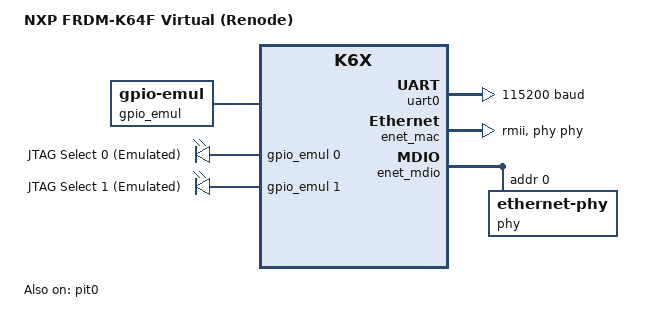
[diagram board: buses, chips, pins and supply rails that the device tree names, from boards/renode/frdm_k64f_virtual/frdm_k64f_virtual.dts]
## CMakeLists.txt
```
# SPDX-License-Identifier: Apache-2.0

cmake_minimum_required(VERSION 3.20.0)

# Add application-specific board root for custom boards (e.g., frdm_k64f_virtual)
list(APPEND BOARD_ROOT ${CMAKE_CURRENT_SOURCE_DIR})

find_package(Zephyr REQUIRED HINTS $ENV{ZEPHYR_BASE})
project(jtag_switch)

target_sources(app PRIVATE
    src/main.c
        src/gpio/gpio_control.c
)

# Conditionally compile shell commands when enabled
target_sources_ifdef(CONFIG_SHELL app PRIVATE
        src/serial/shell_cmds.c
)

# Conditionally compile networking when enabled
target_sources_ifdef(CONFIG_NETWORKING app PRIVATE
        src/net/network_config.c
        src/net/http_api.c
        src/net/http_rest_api.c
        src/net/http_web_ui.c
)

# Generate web resources (both compressed and uncompressed for testing)
set(gen_dir ${ZEPHYR_BINARY_DIR}/include/generated/)

foreach(web_resource index.html style.css app.js)
  # Generate gzipped version
  generate_inc_file_for_target(app
    web/${web_resource}
    ${gen_dir}/${web_resource}.gz.inc
    --gzip
  )
  # Generate uncompressed version for browser compatibility testing
  generate_inc_file_for_target(app
    web/${web_resource}
    ${gen_dir}/${web_resource}.inc
  )
endforeach()

# Add custom linker script for HTTP resources
zephyr_linker_sources(SECTIONS app.ld)
zephyr_linker_section_ifdef(CONFIG_HTTP_SERVER NAME
    http_resource_desc_jtag_switch_service
    KVMA RAM_REGION GROUP RODATA_REGION
)
```

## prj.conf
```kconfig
# SPDX-License-Identifier: Apache-2.0

# GPIO Driver
CONFIG_GPIO=y

# Logging - Minimal for better performance
CONFIG_LOG=y
CONFIG_LOG_DEFAULT_LEVEL=3
CONFIG_LOG_MODE_DEFERRED=y
CONFIG_PRINTK=y

# Application Settings
CONFIG_MAIN_STACK_SIZE=8192
CONFIG_SYSTEM_WORKQUEUE_STACK_SIZE=8192

# USB Serial Shell - New USB Device Stack
CONFIG_SHELL=y
CONFIG_USB_DEVICE_STACK_NEXT=y
CONFIG_USBD_CDC_ACM_CLASS=y
CONFIG_CDC_ACM_SERIAL_INITIALIZE_AT_BOOT=y
CONFIG_SHELL_BACKEND_SERIAL=y
CONFIG_UART_LINE_CTRL=y
CONFIG_CDC_ACM_SERIAL_PRODUCT_STRING="JTAG Switch"
CONFIG_CDC_ACM_SERIAL_MANUFACTURER_STRING="JTAG Switch Project"
CONFIG_CDC_ACM_SERIAL_VID=0x1209
CONFIG_CDC_ACM_SERIAL_PID=0x4520

# Dedicated USB CDC ACM Workqueue (Step 1: Eliminate system workqueue contention)
CONFIG_USBD_CDC_ACM_WORKQUEUE=y
CONFIG_USBD_CDC_ACM_STACK_SIZE=2048

# Shell Configuration
CONFIG_SHELL_PROMPT_UART="jtag:~$ "
CONFIG_SHELL_CMD_BUFF_SIZE=128
CONFIG_SHELL_ARGC_MAX=8
CONFIG_SHELL_TAB=y
CONFIG_SHELL_TAB_AUTOCOMPLETION=y
CONFIG_SHELL_VT100_COLORS=y
CONFIG_SHELL_BACKEND_SERIAL_RX_RING_BUFFER_SIZE=256

# Networking Core
CONFIG_NETWORKING=y
CONFIG_NET_IPV4=y
CONFIG_NET_IPV6=n
CONFIG_NET_TCP=y
CONFIG_NET_SOCKETS=y
CONFIG_NET_CONNECTION_MANAGER=y

# Ethernet
CONFIG_NET_L2_ETHERNET=y

# HTTP Server
CONFIG_HTTP_PARSER=y
CONFIG_HTTP_PARSER_URL=y
CONFIG_HTTP_SERVER=y

# JSON Support
CONFIG_JSON_LIBRARY=y

# Network Buffers - Reduced for better performance
CONFIG_NET_PKT_RX_COUNT=8
CONFIG_NET_PKT_TX_COUNT=8
CONFIG_NET_BUF_RX_COUNT=128
CONFIG_NET_BUF_TX_COUNT=128
CONFIG_NET_MAX_CONTEXTS=6
CONFIG_NET_MAX_CONN=10

# HTTP Server Tuning - Increased for browser compatibility
CONFIG_HTTP_SERVER_MAX_CLIENTS=2
CONFIG_HTTP_SERVER_MAX_STREAMS=8
CONFIG_HTTP_SERVER_CLIENT_BUFFER_SIZE=2048
CONFIG_HTTP_SERVER_MAX_HEADER_LEN=512
CONFIG_HTTP_SERVER_MAX_URL_LENGTH=512

# Poll/FD Limits - Increase for concurrent HTTP connections
CONFIG_ZVFS_POLL_MAX=16

# TCP Connection Management - Fast cleanup for page reloads
CONFIG_NET_TCP_TIME_WAIT_DELAY=1000
# Reduced from 10s to 3s for faster reconnection after browser refresh
CONFIG_HTTP_SERVER_CLIENT_INACTIVITY_TIMEOUT=3

# WebSocket Support for HTTP Server
CONFIG_HTTP_SERVER_WEBSOCKET=y

# Heap memory allocation for WebSocket
CONFIG_HEAP_MEM_POOL_SIZE=8192
# Enable heap runtime statistics tracking
CONFIG_SYS_HEAP_RUNTIME_STATS=y

# Thread Priorities - Network lower priority than shell/USB
CONFIG_NET_RX_DEFAULT_PRIORITY=5
CONFIG_NET_TX_DEFAULT_PRIORITY=5

# Disable network logging to reduce overhead
CONFIG_NET_LOG=n

# Settings (NVS - Non-Volatile Storage)
CONFIG_SETTINGS=y
CONFIG_SETTINGS_RUNTIME=y
CONFIG_NVS=y
CONFIG_NVS_LOG_LEVEL_INF=y
CONFIG_FLASH=y
CONFIG_FLASH_MAP=y
CONFIG_MPU_ALLOW_FLASH_WRITE=y

# Static IP Configuration (default)
CONFIG_NET_CONFIG_SETTINGS=y
CONFIG_NET_CONFIG_NEED_IPV4=y
CONFIG_NET_CONFIG_MY_IPV4_ADDR="192.168.1.100"
CONFIG_NET_CONFIG_MY_IPV4_NETMASK="255.255.255.0"
CONFIG_NET_CONFIG_MY_IPV4_GW="192.168.1.1"

CONFIG_NET_DHCPV4=y
CONFIG_NET_DHCPV4_INITIAL_DELAY_MAX=10
```

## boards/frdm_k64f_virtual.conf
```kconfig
# SPDX-License-Identifier: Apache-2.0
# JTAG Switch configuration for FRDM-K64F Virtual (Renode)

# Disable USB (not simulated in Renode K64F)
CONFIG_USB_DEVICE_STACK_NEXT=n
CONFIG_USBD_CDC_ACM_CLASS=n
CONFIG_CDC_ACM_SERIAL_INITIALIZE_AT_BOOT=n
CONFIG_USBD_CDC_ACM_WORKQUEUE=n

# Use UART console instead
CONFIG_UART_CONSOLE=y

# GPIO emulation (already enabled in board defconfig, but ensure it's set)
CONFIG_GPIO_EMUL=y

# Enable networking for REST API testing in Renode
# Uses isolated internal switch (no host TAP required)
CONFIG_NETWORKING=y
CONFIG_NET_L2_ETHERNET=y
CONFIG_HTTP_SERVER=y
CONFIG_JSON_LIBRARY=y

# Disable DHCP (no external DHCP server in isolated network)
CONFIG_NET_DHCPV4=n

# Enable settings persistence (for network config compatibility)
CONFIG_SETTINGS=y
CONFIG_NVS=y
CONFIG_FLASH=y
```

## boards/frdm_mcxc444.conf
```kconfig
# SPDX-License-Identifier: Apache-2.0
#
# FRDM-MCXC444 Board Configuration
# This board has USB but NO Ethernet - disable networking features

# Disable all networking (no Ethernet on this board)
CONFIG_NETWORKING=n
CONFIG_NET_L2_ETHERNET=n
CONFIG_HTTP_SERVER=n
CONFIG_HTTP_SERVER_WEBSOCKET=n
CONFIG_JSON_LIBRARY=n

# Reduce memory footprint for 32KB SRAM
CONFIG_MAIN_STACK_SIZE=4096
CONFIG_SYSTEM_WORKQUEUE_STACK_SIZE=4096

# Reduce heap size (no WebSocket allocation needed)
CONFIG_HEAP_MEM_POOL_SIZE=2048

# Disable NVS/settings (no network config to persist)
CONFIG_SETTINGS=n
CONFIG_NVS=n
CONFIG_FLASH=n
CONFIG_FLASH_MAP=n
```

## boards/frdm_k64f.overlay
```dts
/*
 * FRDM-K64F JTAG Switch GPIO Configuration
 * SPDX-License-Identifier: Apache-2.0
 *
 * Uses Arduino connector pins:
 *   D2 = PTD2 (GPIOD pin 2)
 *   D3 = PTD0 (GPIOD pin 0)
 */

/ {
	aliases {
		jtag-select0 = &jtag_select0_gpio;
		jtag-select1 = &jtag_select1_gpio;
	};

	chosen {
		zephyr,console = &cdc_acm_uart0;
		zephyr,shell-uart = &cdc_acm_uart0;
		zephyr,settings-partition = &storage_partition;
	};

	jtag_select_gpios {
		compatible = "gpio-leds";

		jtag_select0_gpio: jtag_select_0 {
			gpios = <&gpiod 2 GPIO_ACTIVE_HIGH>;
			label = "JTAG Select 0";
		};

		jtag_select1_gpio: jtag_select_1 {
			gpios = <&gpiod 0 GPIO_ACTIVE_HIGH>;
			label = "JTAG Select 1";
		};
	};
};

&zephyr_udc0 {
	cdc_acm_uart0: cdc_acm_uart0 {
		compatible = "zephyr,cdc-acm-uart";
	};
};

/* Step 2: Fix IRQ Priority Inversion
 * Lower Ethernet IRQ priority from 0 to 3
 * Keep USB at priority 1 (higher than Ethernet)
 * This ensures USB interrupts are not blocked by Ethernet
 */
&enet_mac {
	interrupts = <83 3>, <84 3>, <85 3>;  /* TX, RX, ERR at priority 3 */
	interrupt-names = "TX", "RX", "ERR";
};

&enet_ptp_clock {
	interrupts = <82 3>;  /* PTP timer at priority 3 */
};

&usbotg {
	interrupts = <53 1>;  /* USB at priority 1 (higher priority) */
};
```

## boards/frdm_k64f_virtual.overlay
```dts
/*
 * SPDX-License-Identifier: Apache-2.0
 * FRDM-K64F Virtual Board Application Overlay
 *
 * Overrides for running JTAG Switch on Renode simulation.
 * Console redirected to UART0 (USB CDC ACM not simulated).
 * GPIO uses emulated controller defined in board DTS.
 */

/ {
	chosen {
		/* Override USB CDC ACM console to UART0 */
		zephyr,console = &uart0;
		zephyr,shell-uart = &uart0;
	};
};

/* JTAG select aliases already defined in board DTS pointing to gpio_emul */
```

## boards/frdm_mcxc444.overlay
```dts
/*
 * NXP FRDM-MCXC444 JTAG Switch GPIO Configuration
 * SPDX-License-Identifier: Apache-2.0
 *
 * Uses GPIO pins:
 *   jtag-select0 = PTD6 (GPIOD pin 6)
 *   jtag-select1 = PTD4 (GPIOD pin 4)
 *
 * Note: This board has USB but NO Ethernet.
 *       Only USB serial shell control is available.
 */

/ {
	aliases {
		jtag-select0 = &jtag_select0_gpio;
		jtag-select1 = &jtag_select1_gpio;
	};

	chosen {
		zephyr,console = &cdc_acm_uart0;
		zephyr,shell-uart = &cdc_acm_uart0;
	};

	jtag_select_gpios {
		compatible = "gpio-leds";

		jtag_select0_gpio: jtag_select_0 {
			gpios = <&gpiod 6 GPIO_ACTIVE_HIGH>;
			label = "JTAG Select 0";
		};

		jtag_select1_gpio: jtag_select_1 {
			gpios = <&gpiod 4 GPIO_ACTIVE_HIGH>;
			label = "JTAG Select 1";
		};
	};
};

&zephyr_udc0 {
	cdc_acm_uart0: cdc_acm_uart0 {
		compatible = "zephyr,cdc-acm-uart";
	};
};
```

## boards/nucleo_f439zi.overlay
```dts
/*
 * ST Nucleo F439ZI JTAG Switch GPIO Configuration
 * SPDX-License-Identifier: Apache-2.0
 *
 * Uses Arduino connector pins:
 *   D11 = PA7 (GPIOA pin 7)
 *   D10 = PD14 (GPIOD pin 14)
 */

/ {
	aliases {
		jtag-select0 = &jtag_select0_gpio;
		jtag-select1 = &jtag_select1_gpio;
	};

	chosen {
		zephyr,console = &cdc_acm_uart0;
		zephyr,shell-uart = &cdc_acm_uart0;
		zephyr,settings-partition = &storage_partition;
	};

	jtag_select_gpios {
		compatible = "gpio-leds";

		jtag_select0_gpio: jtag_select_0 {
			gpios = <&gpioa 7 GPIO_ACTIVE_HIGH>;
			label = "JTAG Select 0";
		};

		jtag_select1_gpio: jtag_select_1 {
			gpios = <&gpiod 14 GPIO_ACTIVE_HIGH>;
			label = "JTAG Select 1";
		};
	};
};

&zephyr_udc0 {
	cdc_acm_uart0: cdc_acm_uart0 {
		compatible = "zephyr,cdc-acm-uart";
	};
};

/* Enable NVS storage partition for network settings persistence */
&flash0 {
	partitions {
		storage_partition: partition@8000 {
			label = "storage";
			reg = <0x00008000 DT_SIZE_K(32)>;
		};
	};
};
```

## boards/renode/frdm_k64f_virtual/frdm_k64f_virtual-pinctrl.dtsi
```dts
/*
 * SPDX-License-Identifier: Apache-2.0
 * Minimal pinctrl for FRDM-K64F Virtual board
 * Renode doesn't simulate pin muxing, but references are needed for driver init
 */

#include <nxp/kinetis/MK64FN1M0VLL12-pinctrl.h>

&pinctrl {
	/* UART0 pinctrl - referenced but not functionally used in simulation */
	uart0_default: uart0_default {
		group0 {
			pinmux = <UART0_RX_PTB16>,
				 <UART0_TX_PTB17>;
			drive-strength = "low";
			slew-rate = "fast";
		};
	};

	/* Ethernet pinctrl - referenced but not functionally used in simulation */
	pinmux_enet: pinmux_enet {
		group1 {
			pinmux = <RMII0_RXER_PTA5>,
				 <RMII0_RXD1_PTA12>,
				 <RMII0_RXD0_PTA13>,
				 <RMII0_CRS_DV_PTA14>,
				 <RMII0_TXEN_PTA15>,
				 <RMII0_TXD0_PTA16>,
				 <RMII0_TXD1_PTA17>;
			drive-strength = "low";
			slew-rate = "fast";
		};
	};

	pinmux_enet_mdio: pinmux_enet_mdio {
		group0 {
			pinmux = <RMII0_MDIO_PTB0>;
			drive-strength = "low";
			drive-open-drain;
			bias-pull-up;
			slew-rate = "fast";
		};
		group1 {
			pinmux = <RMII0_MDC_PTB1>;
			drive-strength = "low";
			slew-rate = "fast";
		};
	};
};
```

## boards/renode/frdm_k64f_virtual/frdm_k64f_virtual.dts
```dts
/*
 * SPDX-License-Identifier: Apache-2.0
 * FRDM-K64F Virtual Board Device Tree for Renode Simulation
 */

/dts-v1/;

#include <nxp/nxp_k6x.dtsi>
#include "frdm_k64f_virtual-pinctrl.dtsi"
#include <zephyr/dt-bindings/gpio/gpio.h>
#include <zephyr/dt-bindings/clock/kinetis_sim.h>

/ {
	model = "NXP FRDM-K64F Virtual (Renode)";
	compatible = "nxp,mk64f12", "nxp,k64f", "nxp,k6x";

	chosen {
		zephyr,sram = &sram0;
		zephyr,flash = &flash0;
		zephyr,code-partition = &slot0_partition;
		/* UART0 console instead of USB CDC ACM (USB not simulated) */
		zephyr,console = &uart0;
		zephyr,shell-uart = &uart0;
		zephyr,settings-partition = &storage_partition;
		zephyr,entropy = &rnga;
	};

	aliases {
		/* JTAG select GPIO aliases using emulated GPIO */
		jtag-select0 = &jtag_select0_gpio;
		jtag-select1 = &jtag_select1_gpio;
	};

	/* Emulated GPIO controller for JTAG select lines */
	gpio_emul: gpio_emul {
		status = "okay";
		compatible = "zephyr,gpio-emul";
		rising-edge;
		falling-edge;
		gpio-controller;
		#gpio-cells = <2>;
		ngpios = <4>;
	};

	/* JTAG select GPIO nodes using emulated GPIO */
	jtag_select_gpios {
		compatible = "gpio-leds";

		jtag_select0_gpio: jtag_select_0 {
			gpios = <&gpio_emul 0 GPIO_ACTIVE_HIGH>;
			label = "JTAG Select 0 (Emulated)";
		};

		jtag_select1_gpio: jtag_select_1 {
			gpios = <&gpio_emul 1 GPIO_ACTIVE_HIGH>;
			label = "JTAG Select 1 (Emulated)";
		};
	};
};

&sim {
	pllfll-select = <KINETIS_SIM_PLLFLLSEL_MCGPLLCLK>;
	er32k-select = <KINETIS_SIM_ER32KSEL_RTC>;
};

&cpu0 {
	clock-frequency = <DT_FREQ_M(120)>;
};

&uart0 {
	status = "okay";
	current-speed = <115200>;
	pinctrl-0 = <&uart0_default>;
	pinctrl-names = "default";
};

/* Disable hardware GPIO controllers (not simulated in Renode K6xF) */
&gpioa { status = "disabled"; };
&gpiob { status = "disabled"; };
&gpioc { status = "disabled"; };
&gpiod { status = "disabled"; };
&gpioe { status = "disabled"; };

/* Flash partitions (same layout as real board for NVS compatibility) */
&flash0 {
	partitions {
		compatible = "fixed-partitions";
		#address-cells = <1>;
		#size-cells = <1>;

		boot_partition: partition@0 {
			label = "mcuboot";
			reg = <0x00000000 DT_SIZE_K(64)>;
			read-only;
		};

		slot0_partition: partition@10000 {
			label = "image-0";
			reg = <0x00010000 DT_SIZE_K(420)>;
		};

		slot1_partition: partition@79000 {
			label = "image-1";
			reg = <0x00079000 DT_SIZE_K(420)>;
		};

		storage_partition: partition@e2000 {
			label = "storage";
			reg = <0x000e2000 DT_SIZE_K(120)>;
		};
	};
};

/* Ethernet MAC - enabled for REST API testing */
&enet_mac {
	status = "okay";
	pinctrl-0 = <&pinmux_enet>;
	pinctrl-names = "default";
	phy-handle = <&phy>;
	zephyr,random-mac-address;
	phy-connection-type = "rmii";
};

&enet_mdio {
	status = "okay";
	pinctrl-0 = <&pinmux_enet_mdio>;
	pinctrl-names = "default";

	phy: phy@0 {
		compatible = "ethernet-phy";
		reg = <0>;
		status = "okay";
		fixed-link = "100BASE-T Full-Duplex";
	};
};

&enet_ptp_clock {
	status = "disabled"; /* Not needed for basic testing */
};

&edma0 {
	status = "okay";
};

&pit0 {
	status = "okay";
};
```

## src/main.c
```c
/*
 * Copyright (c) 2025 JTAG Switch Project
 * SPDX-License-Identifier: Apache-2.0
 */

#include <zephyr/kernel.h>
#include <zephyr/device.h>
#include <zephyr/logging/log.h>
#include "gpio/gpio_control.h"

#if defined(CONFIG_SHELL)
#include "serial/shell_cmds.h"
#endif

#if defined(CONFIG_NETWORKING)
#include "net/network_config.h"
#include "net/http_api.h"
#endif


LOG_MODULE_REGISTER(jtag_switch, LOG_LEVEL_INF);

int main(void)
{
	LOG_INF("JTAG Switch Application Starting");
	LOG_INF("Board: %s", CONFIG_BOARD);

	/* Initialize GPIO control */
	int ret = gpio_control_init();
	if (ret < 0) {
		LOG_ERR("Failed to initialize GPIO control: %d", ret);
		return ret;
	}

	LOG_INF("GPIO control initialized successfully");

	/* Set default configuration (both to connector 0) */
	ret = gpio_control_set_select(0, false);
	if (ret < 0) {
		LOG_ERR("Failed to set jtag-select0: %d", ret);
	}

	ret = gpio_control_set_select(1, false);
	if (ret < 0) {
		LOG_ERR("Failed to set jtag-select1: %d", ret);
	}

	/* USB device is automatically initialized when CONFIG_CDC_ACM_SERIAL_INITIALIZE_AT_BOOT=y */

#if defined(CONFIG_NETWORKING)
	/* Initialize network subsystem */
	ret = network_init();
	if (ret < 0) {
		LOG_ERR("Failed to initialize network: %d", ret);
		return ret;
	}

	LOG_INF("Network initialized successfully");

	/* Initialize HTTP API server */
	ret = http_api_init();
	if (ret < 0) {
		LOG_ERR("Failed to initialize HTTP API: %d", ret);
		return ret;
	}

	LOG_INF("HTTP API initialized successfully");

	/* Display network status */
	struct network_status net_status;
	ret = network_get_status(&net_status);
	if (ret == 0) {
		LOG_INF("Network Status:");
		LOG_INF("  Mode: %s", net_status.dhcp_enabled ? "DHCP" : "Static IP");
		LOG_INF("  IP Address: %s", net_status.ip);
		LOG_INF("  MAC Address: %s", net_status.mac);
		LOG_INF("Web UI available at: http://%s/", net_status.ip);
		LOG_INF("REST API available at: http://%s/api/", net_status.ip);
	}
#endif

#if defined(CONFIG_SHELL)
	/* Initialize shell commands */
	ret = shell_cmds_init();
	if (ret < 0) {
		LOG_ERR("Failed to initialize shell commands: %d", ret);
		return ret;
	}

	LOG_INF("Shell commands initialized");
#endif

	LOG_INF("JTAG Switch ready - Default: Connector 0 selected");
#if defined(CONFIG_SHELL)
	LOG_INF("Type 'jtag help' or 'net help' for available commands");
#endif

	/* Main loop - application is idle, shell/API handles user interaction */
	while (1) {
		k_sleep(K_SECONDS(10));
	}

	return 0;
}
```
